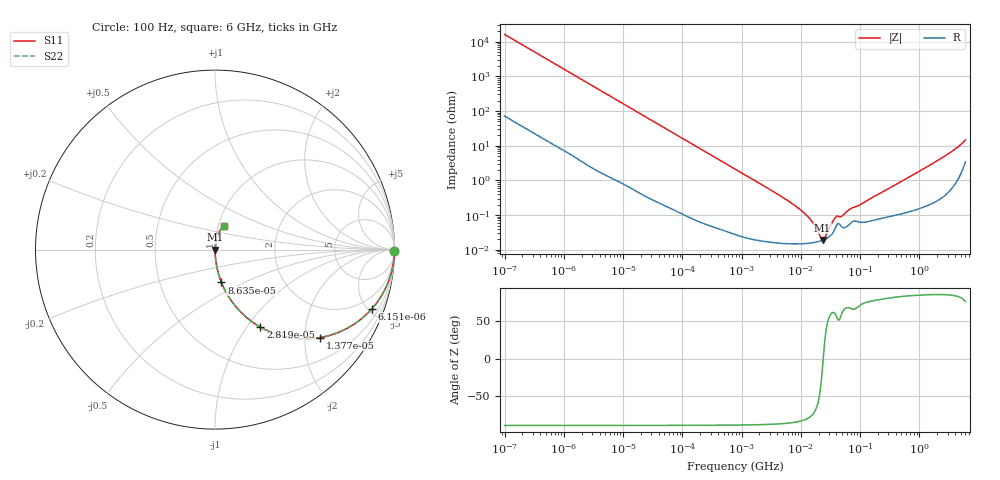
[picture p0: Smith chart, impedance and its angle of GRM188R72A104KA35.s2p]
!Murata Part Number: GRM188R72A104KA35
!These Parameters are Measured in Series Mode Connection
!  o--ll--o
!Port1  Port2
!  o------o
!Operation Temp=25[degC], DC Bias Voltage=0[V]
!Freq. Start=100[Hz] Stop=6[GHz], 401[Steps]
!Data Generated on Nov 6, 2018
# Hz S RI R 50
!Freq.(Hz) S11(Real) S11(Imag) S21(Real) S21(Imag) S12(Real) S12(Imag) S22(Real) S22(Imag)
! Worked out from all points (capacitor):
!   401 points, 100 Hz to 6 GHz, reference 50 ohm
!   read as one part in series: C = 98.7 nF near 109.4 Hz
!   lowest |Z| = 19.1 mohm at 23.28 MHz (marker M1)
!   series resonance near 23.86 MHz, so ESL is about 450 pH
!   S11 on the Smith chart (normalised r, x): 100 Hz: open; 6.151 kHz: 1.02, -5.30; 13.77 kHz: 1.01, -2.37; 28.19 kHz: 1.01, -1.16; 86.35 kHz: 1.00, -0.38; 6 GHz: 1.07, +0.29
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100  0.9999 -0.0062  6.61e-05 0.0062  6.61e-05 0.0062  0.9999 -0.0062
626.9898  0.9983 -0.0386  0.00167 0.0386  0.00167 0.0386  0.9983 -0.0386
2008.354  0.9845 -0.1216  0.0155 0.1216  0.0155 0.1216  0.9845 -0.1216
6151.412  0.8742 -0.3294  0.1258 0.3294  0.1258 0.3294  0.8742 -0.3294
13771.83  0.5842 -0.4904  0.4158 0.4904  0.4158 0.4904  0.5842 -0.4904
28191.46  0.2533 -0.4323  0.7467 0.4323  0.7467 0.4323  0.2533 -0.4323
40334.87  0.1431 -0.3474  0.8569 0.3474  0.8569 0.3474  0.1431 -0.3474
86347.96  0.036 -0.1832  0.964 0.1832  0.964 0.1832  0.036 -0.1832
221108.3  0.0061 -0.0741  0.9939 0.0741  0.9939 0.0741  0.0061 -0.0741
774596.7  0.00073 -0.0214  0.9993 0.0214  0.9993 0.0214  0.00073 -0.0214
6948629  0.000152 -0.0022  0.9998 0.0022  0.9998 0.0022  0.000152 -0.0022
1.137099e7  0.000151 -0.00114  0.9998 0.00114  0.9998 0.00114  0.000151 -0.00114
1.555665e7  0.000159 -0.000624  0.9998 0.000624  0.9998 0.000624  0.000159 -0.000624
2.327686e7  0.000188 -3.52e-05  0.9998 3.52e-05  0.9998 3.52e-05  0.000188 -3.52e-05
2.545746e7  0.0002 9.43e-05  0.9998 -9.43e-05  0.9998 -9.43e-05  0.0002 9.43e-05
3.330331e7  0.000282 0.000511  0.9997 -0.000511  0.9997 -0.000511  0.000282 0.000511
3.983537e7  0.000494 0.000762  0.9995 -0.000762  0.9995 -0.000762  0.000494 0.000762
4.983056e7  0.000447 0.000827  0.9996 -0.000827  0.9996 -0.000827  0.000447 0.000827
6.817316e7  0.000572 0.00139  0.9994 -0.00139  0.9994 -0.00139  0.000572 0.00139
3.124326e8  0.000932 0.0059  0.9991 -0.0059  0.9991 -0.0059  0.000932 0.0059
2.34314e9  0.00487 0.0428  0.9951 -0.0428  0.9951 -0.0428  0.00487 0.0428
6e9  0.0511 0.131  0.9489 -0.131  0.9489 -0.131  0.0511 0.131
